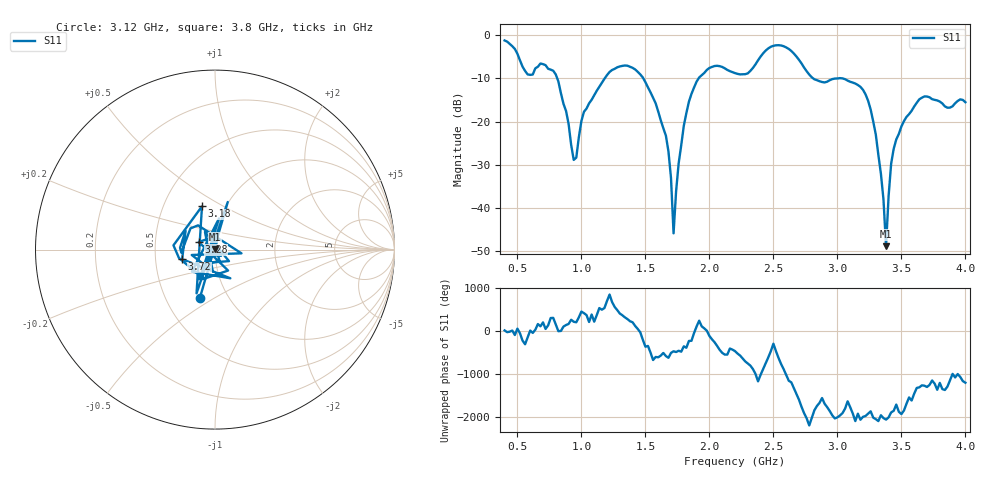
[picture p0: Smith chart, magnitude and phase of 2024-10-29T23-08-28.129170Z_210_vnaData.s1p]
!Created with skrf (http://scikit-rf.org).
# Hz S RI R 50.0
!freq ReS11 ImS11
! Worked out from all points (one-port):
!   181 points, 400 MHz to 4 GHz, reference 50 ohm
!   lowest |S11| = -48.8 dB at 3.38 GHz (marker M1), VSWR 1.01, Z = 49.9 + j0.34 ohm
!   |S11| at or under -10 dB: 810.9 MHz to 1.183 GHz (371.7 MHz wide, 37.3 % of centre); 1.483 GHz to 1.916 GHz (432.8 MHz wide, 25.5 % of centre); 3.032 GHz to end of sweep (the widest 3 of 4)
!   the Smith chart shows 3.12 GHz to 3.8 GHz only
!   S11 on the Smith chart (normalised r, x): 3.12 GHz: 0.74, -0.43; 3.18 GHz: 0.78, +0.40; 3.28 GHz: 0.83, +0.07; 3.72 GHz: 0.69, -0.08; 3.8 GHz: 0.82, -0.25
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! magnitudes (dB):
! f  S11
! 400 MHz  -1.2
! 580 MHz  -9.1
! 780 MHz  -8.3
! 860 MHz  -15.9
! 940 MHz  -28.9
! 1.02 GHz  -17.7
! 1.3 GHz  -7.3
! 1.58 GHz  -15.8
! 1.68 GHz  -26.9
! 1.72 GHz  -45.9
! 1.76 GHz  -29.6
! 1.84 GHz  -15.4
! 1.92 GHz  -9.8
! 2.2 GHz  -8.8
! 2.66 GHz  -4.3
! 2.82 GHz  -10.2
! 3.1 GHz  -10.8
! 3.12 GHz  -11.0
! 3.18 GHz  -12.0
! 3.28 GHz  -20.0
! 3.34 GHz  -32.1
! 3.38 GHz  -48.8
! 3.42 GHz  -29.7
! 3.44 GHz  -26.3
! 3.56 GHz  -18.3
! 3.72 GHz  -14.4
! 3.8 GHz  -15.4
! 4 GHz  -15.5
